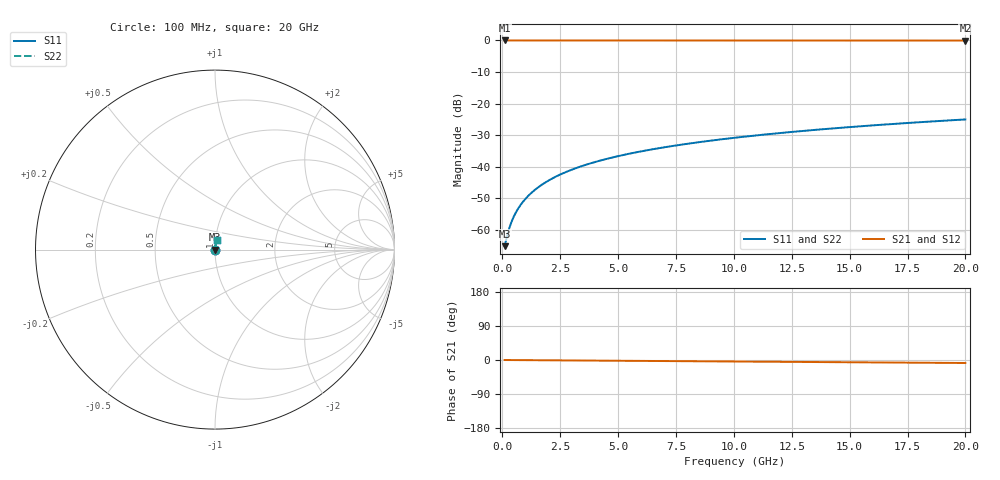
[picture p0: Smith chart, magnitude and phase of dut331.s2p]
! Touchstone file exported from HFSS 2026.1.0
!  File:  C:/ffzhzh/LocalFiles/Ansys_Project_Files/temp_train_TSV_331_1783018583_51716.aedt
!  Generated:  02:58:27 AM Jul  3, 2026
!  Design:  TSV
!  Project:  temp_train_TSV_331_1783018583_51716
! Variables:
!  h_bsmrdl = 2um
!  h_ox = 20um
!  h_rdl = 5um
!  h_sub = 72.31um
!  h_tmrdl = 5um
!  h_tsv = 72.31um
!  h_via = 3um
!  l_bsmrdl = 300um
!  l_sub = 408.9um
!  l_tmrdl = 200um
!  m_sub = 200um
!  pitch = 33.66um
!  r_tsv = 4.45um
!  s_tmrdl = 10um
!  w_bsmrdl = 18um
!  w_sub = 500um
!  w_tmrdl = 12um
!  x_tsv_center1 = 206um
!  x_tsv_center2 = 524um
!  x_tsv_center3 = 736um
!  x_tsv_center4 = 1054um
!  x_tsv_center5 = 1266um
!  x_tsv_center6 = 1584um
# GHz S MA R 50.000000
! Terminal data exported
! Port[1] = TSV1_1_T1
! Port[2] = TSV1_1_T2
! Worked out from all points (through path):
!   200 points, 100 MHz to 20 GHz, reference 50 ohm
!   highest |S21| = 0.00 dB at 100 MHz (marker M1); lowest = 0.0 dB at 20 GHz (marker M2)
!   group delay of S21, straight-line fit = 1.1 ps
!   lowest |S11| = -65.2 dB at 100 MHz (marker M3), VSWR 1.00, Z = 50 + j0.0321 ohm
!   |S11| at or under -10 dB: start of sweep to end of sweep
!   |S22| runs from -65.2 to -25.0 dB; largest |S21 - S12| = 2.3e-15
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0.1  0.0005526 35.4  0.9996 -0.0  0.9996 -0.0  0.0005526 35.4
! Gamma 0 0 0 0
! Port Impedance 50 0 50 0
0.2  0.0007866 54.0  0.9995 -0.1  0.9995 -0.1  0.0007866 54.0
0.3  0.001061 63.2  0.9995 -0.1  0.9995 -0.1  0.001061 63.2
0.4  0.001346 68.5  0.9995 -0.2  0.9995 -0.2  0.001346 68.5
0.5  0.001635 71.9  0.9995 -0.2  0.9995 -0.2  0.001635 71.9
0.6  0.001927 74.2  0.9995 -0.2  0.9995 -0.2  0.001927 74.2
0.8  0.002512 77.3  0.9995 -0.3  0.9995 -0.3  0.002512 77.3
1.1  0.003395 80.0  0.9994 -0.5  0.9994 -0.5  0.003395 80.0
1.3  0.003986 81.0  0.9994 -0.5  0.9994 -0.5  0.003986 81.0
1.6  0.004873 82.1  0.9994 -0.7  0.9994 -0.7  0.004873 82.1
2.1  0.006348 83.1  0.9993 -0.9  0.9993 -0.9  0.006348 83.1
2.7  0.008108 83.6  0.9992 -1.1  0.9992 -1.1  0.008108 83.6
3.5  0.01043 83.9  0.9991 -1.4  0.9991 -1.4  0.01043 83.9
4.2  0.01244 83.9  0.999 -1.7  0.999 -1.7  0.01244 83.9
5  0.01472 83.8  0.9988 -2.0  0.9988 -2.0  0.01472 83.8
5.9  0.01726 83.7  0.9987 -2.4  0.9987 -2.4  0.01726 83.7
6.8  0.01978 83.6  0.9985 -2.7  0.9985 -2.7  0.01978 83.6
8.3  0.02396 83.3  0.9983 -3.3  0.9983 -3.3  0.02396 83.3
10.1  0.02895 82.9  0.998 -4.0  0.998 -4.0  0.02895 82.9
13.4  0.03807 82.0  0.9975 -5.3  0.9975 -5.3  0.03807 82.0
16.7  0.04713 80.9  0.9969 -6.6  0.9969 -6.6  0.04713 80.9
20  0.05612 79.8  0.9962 -7.9  0.9962 -7.9  0.05612 79.8
